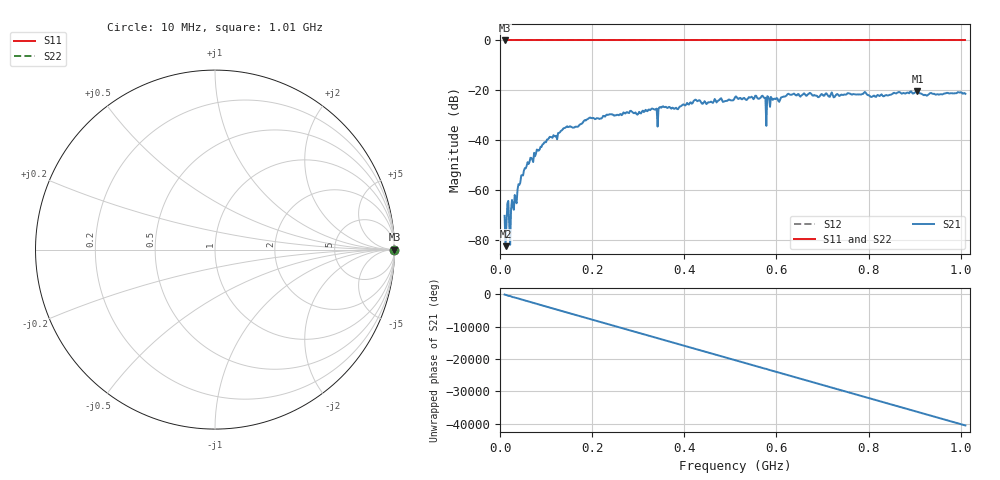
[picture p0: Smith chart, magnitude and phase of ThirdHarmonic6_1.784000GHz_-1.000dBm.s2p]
! 8/16/2025 9:34:27 PM
! C:\ANRITSUVNA\TEMP\TEMP.S2P
! CHANNEL.1
! TR.MEASUREMENT
! RAW.DATA
! RF.CORRECTION.OFF
! AVERAGING.OFF
! IF.BANDWIDTH: 5KHZ
! SWEEPTYPE:  FREQ.SWEEP(Linear)
! Reference Plane Port Info
! PORT:  PORT1  PORT2
! DISTANCE:  0  m  0  m
! TIME:  0  s  0  s
! PHASE.OFFSET:  0  deg.  0  deg.
! LOSS:  0  dB  0  dB
! REF.LOSS:  0  dB  0  dB
! REF.FREQ:  0  Hz  0  Hz
! Power Info
! POWER:  -20  dBm  -20  dBm
! EFF.POWER:  -20  dBm  -20  dBm
! SOURCE.ATTEN:  0  dB  0  dB
! TEST.ATTEN:  0  dB  0  dB
# GHZ S RI R 50.0
! FREQ.GHZ  S11RE  S11IM  S21RE  S21IM  S12RE  S12IM  S22RE  S22IM
!; PortSelection: Port_12
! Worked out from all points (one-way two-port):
!   501 points, 10 MHz to 1.01 GHz, reference 50 ohm
!   highest |S21| = -20.33 dB at 906 MHz (marker M1); lowest = -82.3 dB at 12 MHz (marker M2)
!   lowest |S11| = 0.0 dB at 10 MHz (marker M3)
!   |S11| at or under -10 dB: nowhere
!   |S22| runs from 0.0 to 0.0 dB; largest |S21 - S12| = 1.1
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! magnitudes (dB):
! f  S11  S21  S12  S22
! 10 MHz  0.0  -70.1  0.0  0.0
! 12 MHz  0.0  -82.3  0.0  0.0
! 24 MHz  0.0  -67.7  0.0  0.0
! 28 MHz  0.0  -66.4  0.0  0.0
! 32 MHz  0.0  -61.8  0.0  0.0
! 50 MHz  0.0  -54.0  0.0  0.0
! 78 MHz  0.0  -45.3  0.0  0.0
! 142 MHz  0.0  -34.9  0.0  0.0
! 178 MHz  0.0  -33.2  0.0  0.0
! 236 MHz  0.0  -29.7  0.0  0.0
! 344 MHz  0.0  -27.4  0.0  0.0
! 424 MHz  0.0  -23.7  0.0  0.0
! 510 MHz  0.0  -22.7  0.0  0.0
! 572 MHz  0.0  -22.7  0.0  0.0
! 574 MHz  0.0  -23.0  0.0  0.0
! 582 MHz  0.0  -22.5  0.0  0.0
! 584 MHz  0.0  -23.2  0.0  0.0
! 626 MHz  0.0  -21.3  0.0  0.0
! 678 MHz  0.0  -22.0  0.0  0.0
! 844 MHz  0.0  -21.9  0.0  0.0
! 906 MHz  0.0  -20.3  0.0  0.0
! 1.01 GHz  0.0  -21.3  0.0  0.0
